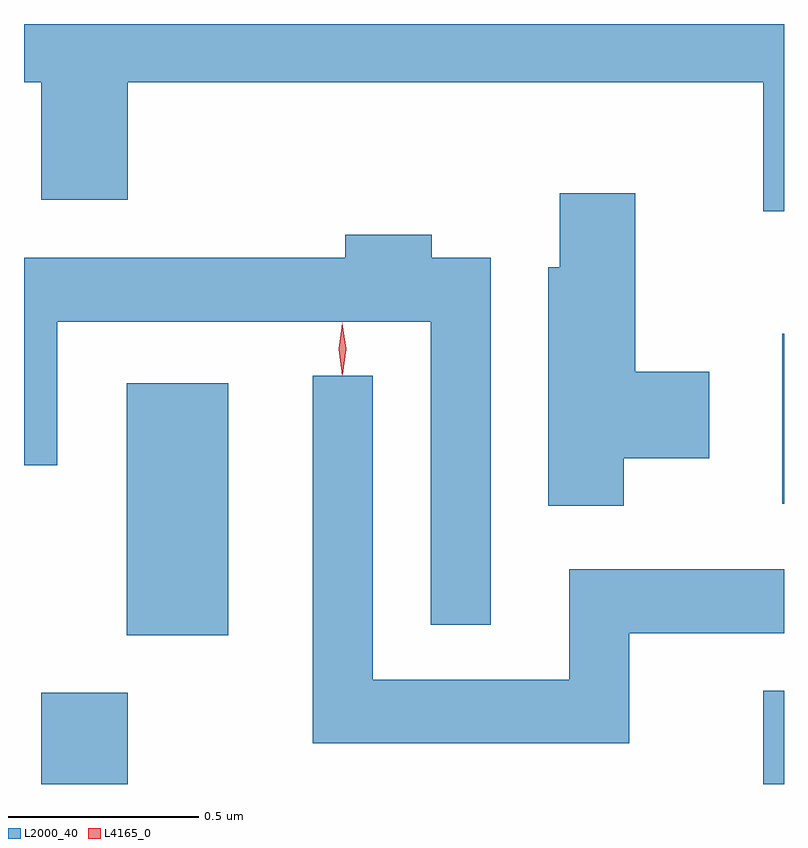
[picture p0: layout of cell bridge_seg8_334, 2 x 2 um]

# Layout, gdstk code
import gdstk
lib = gdstk.Library(unit=1e-6, precision=1e-09)
def R(c, l, rs):  # rectangles x0, y0, x1, y1
    for r in rs: c.add(gdstk.rectangle(r[:2], r[2:], *l))
def P(c, l, *ps):  # polygons
    for p in ps: c.add(gdstk.Polygon(p, *l))
L2000_40 = (2000, 40)
L4165_0 = (4165, 0)

bridge_seg8_334 = lib.new_cell('bridge_seg8_334')
R(bridge_seg8_334, L2000_40, [(935.801,1927.809,936.029,1928.049), (937.701,1927.809,937.756,1928.054), (936.026,1928.201,936.294,1928.864), (937.751,1928.546,937.756,1928.994)])
P(bridge_seg8_334, L2000_40, [(937.756,1929.809),(935.756,1929.809),(935.756,1929.656),(935.801,1929.656),(935.801,1929.346),(936.029,1929.346),(936.029,1929.656),(937.701,1929.656),(937.701,1929.316),(937.756,1929.316)],
  [(937.334,1928.666),(937.559,1928.666),(937.559,1928.894),(937.364,1928.894),(937.364,1929.364),(937.166,1929.364),(937.166,1929.169),(937.136,1929.169),(937.136,1928.541),(937.334,1928.541)],
  [(936.984,1929.194),(936.829,1929.194),(936.829,1929.254),(936.601,1929.254),(936.601,1929.194),(935.756,1929.194),(935.756,1928.648),(935.844,1928.648),(935.844,1929.026),(936.826,1929.026),(936.826,1928.228),(936.984,1928.228)],
  [(937.349,1928.206),(937.756,1928.206),(937.756,1928.374),(937.191,1928.374),(937.191,1928.084),(936.674,1928.084),(936.674,1928.883),(936.516,1928.883),(936.516,1927.916),(937.349,1927.916)])
P(bridge_seg8_334, L4165_0, [(936.594,1928.887),(936.594,1928.887),(936.584,1928.954),(936.594,1929.02),(936.594,1929.02),(936.594,1929.02),(936.604,1928.954),(936.595,1928.887)],
  [(936.593,1928.884),(936.584,1928.953),(936.593,1929.022),(936.594,1929.023),(936.594,1929.022),(936.604,1928.953),(936.594,1928.884),(936.594,1928.884)])

lib.write_gds('bridge_seg8_334.gds')
